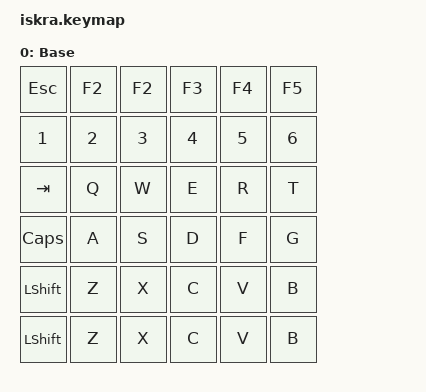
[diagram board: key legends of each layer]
#include <behaviors.dtsi>
#include <dt-bindings/zmk/keys.h>
#include <dt-bindings/zmk/bt.h>

/ {
	keymap {
		compatible = "zmk,keymap";

		base {
			display-name = "Base";
			bindings = <
        &kp ESC &kp F2  &kp F2    &kp F3     &kp F4  &kp F5
        &kp N1   &kp N2    &kp N3   &kp N4    &kp N5     &kp N6
        &kp TAB   &kp Q     &kp W    &kp E     &kp R      &kp T
        &kp CAPS  &kp A     &kp S    &kp D     &kp F      &kp G
        &kp LSHFT &kp Z     &kp X    &kp C     &kp V      &kp B
        &kp LSHFT &kp Z     &kp X    &kp C     &kp V      &kp B
			>;
		};

	};

	/* combos { */
	/* 	compatible = "zmk,combos"; */
	/* 	combo_base: combo_base { timeout-ms = <100>; key-positions = <0 1 2>; bindings = <&to 0>; }; */
	/* 	combo_bt: combo_bt { timeout-ms = <100>; key-positions = <3 4 5>; bindings = <&to 1>; }; */
	/* 	combo_l3: combo_l3 { timeout-ms = <100>; key-positions = <6 7 8>; bindings = <&to 2>; }; */
	/* 	combo_studio_unlock: combo_studio_unlock { timeout-ms = <150>; key-positions = <0 1>; bindings = <&studio_unlock>; }; */
	/* }; */
};
